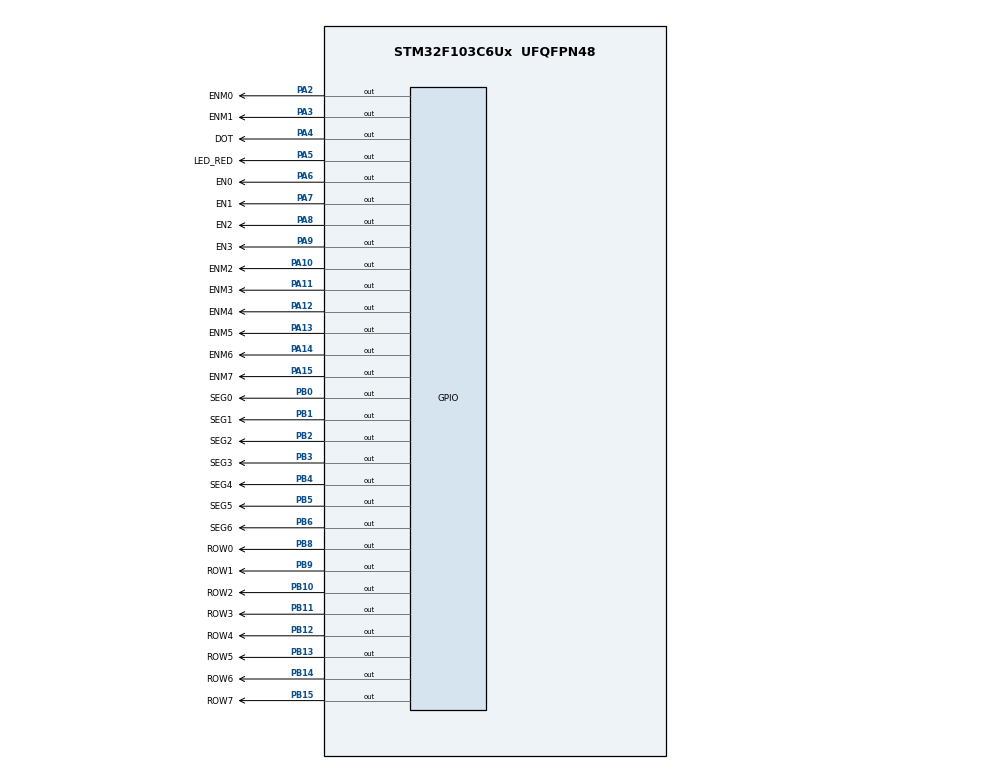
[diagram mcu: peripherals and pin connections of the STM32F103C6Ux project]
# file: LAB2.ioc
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Mcu.Family=STM32F1
Mcu.Name=STM32F103C6Ux
Mcu.Package=UFQFPN48
NVIC.PriorityGroup=NVIC_PRIORITYGROUP_4
NVIC.TIM2_IRQn=true\:0\:0\:false\:false\:true\:true\:true
PA10.GPIO_Label=ENM2
PA10.Signal=GPIO_Output
PA11.GPIO_Label=ENM3
PA11.Signal=GPIO_Output
PA12.GPIO_Label=ENM4
PA12.Signal=GPIO_Output
PA13.GPIO_Label=ENM5
PA13.Signal=GPIO_Output
PA14.GPIO_Label=ENM6
PA14.Signal=GPIO_Output
PA15.GPIO_Label=ENM7
PA15.Signal=GPIO_Output
PA2.GPIO_Label=ENM0
PA2.Signal=GPIO_Output
PA3.GPIO_Label=ENM1
PA3.Signal=GPIO_Output
PA4.GPIO_Label=DOT
PA4.Signal=GPIO_Output
PA5.GPIO_Label=LED_RED
PA5.Signal=GPIO_Output
PA6.GPIO_Label=EN0
PA6.Signal=GPIO_Output
PA7.GPIO_Label=EN1
PA7.Signal=GPIO_Output
PA8.GPIO_Label=EN2
PA8.Signal=GPIO_Output
PA9.GPIO_Label=EN3
PA9.Signal=GPIO_Output
PB0.GPIO_Label=SEG0
PB0.Signal=GPIO_Output
PB1.GPIO_Label=SEG1
PB1.Signal=GPIO_Output
PB10.GPIO_Label=ROW2
PB10.Signal=GPIO_Output
PB11.GPIO_Label=ROW3
PB11.Signal=GPIO_Output
PB12.GPIO_Label=ROW4
PB12.Signal=GPIO_Output
PB13.GPIO_Label=ROW5
PB13.Signal=GPIO_Output
PB14.GPIO_Label=ROW6
PB14.Signal=GPIO_Output
PB15.GPIO_Label=ROW7
PB15.Signal=GPIO_Output
PB2.GPIO_Label=SEG2
PB2.Signal=GPIO_Output
PB3.GPIO_Label=SEG3
PB3.Signal=GPIO_Output
PB4.GPIO_Label=SEG4
PB4.Signal=GPIO_Output
PB5.GPIO_Label=SEG5
PB5.Signal=GPIO_Output
PB6.GPIO_Label=SEG6
PB6.Signal=GPIO_Output
PB8.GPIO_Label=ROW0
PB8.Signal=GPIO_Output
PB9.GPIO_Label=ROW1
PB9.Signal=GPIO_Output
ProjectManager.HeapSize=0x200
ProjectManager.StackSize=0x400
ProjectManager.TargetToolchain=STM32CubeIDE
RCC.APB1Freq_Value=8000000
RCC.APB2Freq_Value=8000000
TIM2.Period=9
TIM2.Prescaler=7999
VP_SYS_VS_ND.Mode=No_Debug
VP_TIM2_VS_ClockSourceINT.Mode=Internal
board=custom

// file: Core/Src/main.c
/* USER CODE BEGIN Header */
/**
  ******************************************************************************
  * @file           : main.c
  * @brief          : Main program body
  ******************************************************************************
  * @attention
  *
  * <h2><center>&copy; Copyright (c) 2026 STMicroelectronics.
  * All rights reserved.</center></h2>
  *
  * This software component is licensed by ST under BSD 3-Clause license,
  * the "License"; You may not use this file except in compliance with the
  * License. You may obtain a copy of the License at:
  *                        opensource.org/licenses/BSD-3-Clause
  *
  ******************************************************************************
  */
/* USER CODE END Header */
#include "main.h"

TIM_HandleTypeDef htim2;

/* USER CODE BEGIN PV */
const int MAX_LED = 4;
int index_led = 0;
int led_buffer [4] = {1, 2, 3, 4};

typedef enum{
	Seg1, Seg2, Seg3, Seg4
}Seg_Typedef;
Seg_Typedef Seg_State = Seg1;

int hour = 15, minute = 8, second = 50;
/* USER CODE END PV */

void SystemClock_Config(void);
static void MX_GPIO_Init(void);
static void MX_TIM2_Init(void);
/* USER CODE BEGIN PFP */
void display7SEG(int num);
void update7SEG (int index);
void updateClockBuffer();
/* USER CODE END PFP */

int main(void)
{

  /* MCU Configuration--------------------------------------------------------*/

  /* Reset of all peripherals, Initializes the Flash interface and the Systick. */
  HAL_Init();

  /* Configure the system clock */
  SystemClock_Config();

  /* Initialize all configured peripherals */
  MX_GPIO_Init();
  MX_TIM2_Init();
  /* USER CODE BEGIN 2 */
  HAL_TIM_Base_Start_IT(&htim2);
  updateClockBuffer();
  /* USER CODE END 2 */

  /* Infinite loop */
  /* USER CODE BEGIN WHILE */
  while (1)
  {
	  second++;
	  if (second >= 60) {
		  second = 0;
		  minute++;
	  }
	  if(minute >= 60) {
		  minute = 0;
		  hour++;
	  }
	  if(hour >= 24){
		  hour = 0;
	  }
	  updateClockBuffer();
	  HAL_Delay(1000);
    /* USER CODE END WHILE */

  }
}

void SystemClock_Config(void)
{
  RCC_OscInitTypeDef RCC_OscInitStruct = {0};
  RCC_ClkInitTypeDef RCC_ClkInitStruct = {0};

  /** Initializes the RCC Oscillators according to the specified parameters
  * in the RCC_OscInitTypeDef structure.
  */
  RCC_OscInitStruct.OscillatorType = RCC_OSCILLATORTYPE_HSI;
  RCC_OscInitStruct.HSIState = RCC_HSI_ON;
  RCC_OscInitStruct.HSICalibrationValue = RCC_HSICALIBRATION_DEFAULT;
  RCC_OscInitStruct.PLL.PLLState = RCC_PLL_NONE;
  if (HAL_RCC_OscConfig(&RCC_OscInitStruct) != HAL_OK)
  {
    Error_Handler();
  }
  /** Initializes the CPU, AHB and APB buses clocks
  */
  RCC_ClkInitStruct.ClockType = RCC_CLOCKTYPE_HCLK|RCC_CLOCKTYPE_SYSCLK
                              |RCC_CLOCKTYPE_PCLK1|RCC_CLOCKTYPE_PCLK2;
  RCC_ClkInitStruct.SYSCLKSource = RCC_SYSCLKSOURCE_HSI;
  RCC_ClkInitStruct.AHBCLKDivider = RCC_SYSCLK_DIV1;
  RCC_ClkInitStruct.APB1CLKDivider = RCC_HCLK_DIV1;
  RCC_ClkInitStruct.APB2CLKDivider = RCC_HCLK_DIV1;

  if (HAL_RCC_ClockConfig(&RCC_ClkInitStruct, FLASH_LATENCY_0) != HAL_OK)
  {
    Error_Handler();
  }
}

static void MX_TIM2_Init(void)
{

  TIM_ClockConfigTypeDef sClockSourceConfig = {0};
  TIM_MasterConfigTypeDef sMasterConfig = {0};

  htim2.Instance = TIM2;
  htim2.Init.Prescaler = 7999;
  htim2.Init.CounterMode = TIM_COUNTERMODE_UP;
  htim2.Init.Period = 9;
  htim2.Init.ClockDivision = TIM_CLOCKDIVISION_DIV1;
  htim2.Init.AutoReloadPreload = TIM_AUTORELOAD_PRELOAD_DISABLE;
  if (HAL_TIM_Base_Init(&htim2) != HAL_OK)
  {
    Error_Handler();
  }
  sClockSourceConfig.ClockSource = TIM_CLOCKSOURCE_INTERNAL;
  if (HAL_TIM_ConfigClockSource(&htim2, &sClockSourceConfig) != HAL_OK)
  {
    Error_Handler();
  }
  sMasterConfig.MasterOutputTrigger = TIM_TRGO_RESET;
  sMasterConfig.MasterSlaveMode = TIM_MASTERSLAVEMODE_DISABLE;
  if (HAL_TIMEx_MasterConfigSynchronization(&htim2, &sMasterConfig) != HAL_OK)
  {
    Error_Handler();
  }

}

static void MX_GPIO_Init(void)
{
  GPIO_InitTypeDef GPIO_InitStruct = {0};

  /* GPIO Ports Clock Enable */
  __HAL_RCC_GPIOA_CLK_ENABLE();
  __HAL_RCC_GPIOB_CLK_ENABLE();

  /*Configure GPIO pin Output Level */
  HAL_GPIO_WritePin(GPIOA, DOT_Pin|LED_RED_Pin|EN0_Pin|EN1_Pin
                          |EN2_Pin|EN3_Pin, GPIO_PIN_RESET);

  /*Configure GPIO pin Output Level */
  HAL_GPIO_WritePin(GPIOB, SEG0_Pin|SEG1_Pin|SEG2_Pin|SEG3_Pin
                          |SEG4_Pin|SEG5_Pin|SEG6_Pin, GPIO_PIN_RESET);

  /*Configure GPIO pins : DOT_Pin LED_RED_Pin EN0_Pin EN1_Pin
                           EN2_Pin EN3_Pin */
  GPIO_InitStruct.Pin = DOT_Pin|LED_RED_Pin|EN0_Pin|EN1_Pin
                          |EN2_Pin|EN3_Pin;
  GPIO_InitStruct.Mode = GPIO_MODE_OUTPUT_PP;
  GPIO_InitStruct.Pull = GPIO_NOPULL;
  GPIO_InitStruct.Speed = GPIO_SPEED_FREQ_LOW;
  HAL_GPIO_Init(GPIOA, &GPIO_InitStruct);

  /*Configure GPIO pins : SEG0_Pin SEG1_Pin SEG2_Pin SEG3_Pin
                           SEG4_Pin SEG5_Pin SEG6_Pin */
  GPIO_InitStruct.Pin = SEG0_Pin|SEG1_Pin|SEG2_Pin|SEG3_Pin
                          |SEG4_Pin|SEG5_Pin|SEG6_Pin;
  GPIO_InitStruct.Mode = GPIO_MODE_OUTPUT_PP;
  GPIO_InitStruct.Pull = GPIO_NOPULL;
  GPIO_InitStruct.Speed = GPIO_SPEED_FREQ_LOW;
  HAL_GPIO_Init(GPIOB, &GPIO_InitStruct);

}

/* USER CODE BEGIN 4 */
int counterled = 100, counterseg = 25, counterdot = 100;
void HAL_TIM_PeriodElapsedCallback(TIM_HandleTypeDef *htim){
	counterled--;
	if (counterled <= 0){
		counterled = 100;
		HAL_GPIO_TogglePin(LED_RED_GPIO_Port, LED_RED_Pin);
	}

	counterseg--;
	if (counterseg <= 0){
		counterseg = 25;
		index_led = (index_led+1)%4;
	}

	counterdot--;
	if (counterdot <= 0){
		counterdot=100;
		HAL_GPIO_TogglePin(DOT_GPIO_Port, DOT_Pin);
	}
	update7SEG(index_led);
}

void update7SEG (int index){
	  switch(index){
	  case 2:
		  HAL_GPIO_WritePin(EN0_GPIO_Port,EN0_Pin,GPIO_PIN_SET);
		  HAL_GPIO_WritePin(EN1_GPIO_Port,EN1_Pin,GPIO_PIN_SET);
		  HAL_GPIO_WritePin(EN2_GPIO_Port,EN2_Pin,GPIO_PIN_RESET);
		  HAL_GPIO_WritePin(EN3_GPIO_Port,EN3_Pin,GPIO_PIN_SET);
		  display7SEG(led_buffer[2]);
		  break;
	  case 3:
		  HAL_GPIO_WritePin(EN0_GPIO_Port,EN0_Pin,GPIO_PIN_SET);
		  HAL_GPIO_WritePin(EN1_GPIO_Port,EN1_Pin,GPIO_PIN_SET);
		  HAL_GPIO_WritePin(EN2_GPIO_Port,EN2_Pin,GPIO_PIN_SET);
		  HAL_GPIO_WritePin(EN3_GPIO_Port,EN3_Pin,GPIO_PIN_RESET);
		  display7SEG(led_buffer[3]);
		  break;
	  case 0:
		  HAL_GPIO_WritePin(EN0_GPIO_Port,EN0_Pin,GPIO_PIN_RESET);
		  HAL_GPIO_WritePin(EN1_GPIO_Port,EN1_Pin,GPIO_PIN_SET);
		  HAL_GPIO_WritePin(EN2_GPIO_Port,EN2_Pin,GPIO_PIN_SET);
		  HAL_GPIO_WritePin(EN3_GPIO_Port,EN3_Pin,GPIO_PIN_SET);
		  display7SEG(led_buffer[0]);
		  break;
	  case 1:
		  HAL_GPIO_WritePin(EN0_GPIO_Port,EN0_Pin,GPIO_PIN_SET);
		  HAL_GPIO_WritePin(EN1_GPIO_Port,EN1_Pin,GPIO_PIN_RESET);
		  HAL_GPIO_WritePin(EN2_GPIO_Port,EN2_Pin,GPIO_PIN_SET);
		  HAL_GPIO_WritePin(EN3_GPIO_Port,EN3_Pin,GPIO_PIN_SET);
		  display7SEG(led_buffer[1]);
		  break;
	  }
}

void display7SEG(int num){
	switch(num){
		case 0:
			HAL_GPIO_WritePin(GPIOB, SEG0_Pin, GPIO_PIN_RESET);
			HAL_GPIO_WritePin(GPIOB, SEG1_Pin, GPIO_PIN_RESET);
			HAL_GPIO_WritePin(GPIOB, SEG2_Pin, GPIO_PIN_RESET);
			HAL_GPIO_WritePin(GPIOB, SEG3_Pin, GPIO_PIN_RESET);
			HAL_GPIO_WritePin(GPIOB, SEG4_Pin, GPIO_PIN_RESET);
			HAL_GPIO_WritePin(GPIOB, SEG5_Pin, GPIO_PIN_RESET);
			HAL_GPIO_WritePin(GPIOB, SEG6_Pin, GPIO_PIN_SET);
			break;
		case 1:
			HAL_GPIO_WritePin(GPIOB, SEG0_Pin, GPIO_PIN_SET);
			HAL_GPIO_WritePin(GPIOB, SEG1_Pin, GPIO_PIN_RESET);
			HAL_GPIO_WritePin(GPIOB, SEG2_Pin, GPIO_PIN_RESET);
			HAL_GPIO_WritePin(GPIOB, SEG3_Pin, GPIO_PIN_SET);
			HAL_GPIO_WritePin(GPIOB, SEG4_Pin, GPIO_PIN_SET);
			HAL_GPIO_WritePin(GPIOB, SEG5_Pin, GPIO_PIN_SET);
			HAL_GPIO_WritePin(GPIOB, SEG6_Pin, GPIO_PIN_SET);
			break;
		case 2:
			HAL_GPIO_WritePin(GPIOB, SEG0_Pin, GPIO_PIN_RESET);
			HAL_GPIO_WritePin(GPIOB, SEG1_Pin, GPIO_PIN_RESET);
			HAL_GPIO_WritePin(GPIOB, SEG2_Pin, GPIO_PIN_SET);
			HAL_GPIO_WritePin(GPIOB, SEG3_Pin, GPIO_PIN_RESET);
			HAL_GPIO_WritePin(GPIOB, SEG4_Pin, GPIO_PIN_RESET);
			HAL_GPIO_WritePin(GPIOB, SEG5_Pin, GPIO_PIN_SET);
			HAL_GPIO_WritePin(GPIOB, SEG6_Pin, GPIO_PIN_RESET);
			break;
		case 3:
			HAL_GPIO_WritePin(GPIOB, SEG0_Pin, GPIO_PIN_RESET);
			HAL_GPIO_WritePin(GPIOB, SEG1_Pin, GPIO_PIN_RESET);
			HAL_GPIO_WritePin(GPIOB, SEG2_Pin, GPIO_PIN_RESET);
			HAL_GPIO_WritePin(GPIOB, SEG3_Pin, GPIO_PIN_RESET);
			HAL_GPIO_WritePin(GPIOB, SEG4_Pin, GPIO_PIN_SET);
			HAL_GPIO_WritePin(GPIOB, SEG5_Pin, GPIO_PIN_SET);
			HAL_GPIO_WritePin(GPIOB, SEG6_Pin, GPIO_PIN_RESET);
			break;
		case 4:
			HAL_GPIO_WritePin(GPIOB, SEG0_Pin, GPIO_PIN_SET);
			HAL_GPIO_WritePin(GPIOB, SEG1_Pin, GPIO_PIN_RESET);
			HAL_GPIO_WritePin(GPIOB, SEG2_Pin, GPIO_PIN_RESET);
			HAL_GPIO_WritePin(GPIOB, SEG3_Pin, GPIO_PIN_SET);
			HAL_GPIO_WritePin(GPIOB, SEG4_Pin, GPIO_PIN_SET);
			HAL_GPIO_WritePin(GPIOB, SEG5_Pin, GPIO_PIN_RESET);
			HAL_GPIO_WritePin(GPIOB, SEG6_Pin, GPIO_PIN_RESET);
			break;
		case 5:
			HAL_GPIO_WritePin(GPIOB, SEG0_Pin, GPIO_PIN_RESET);
			HAL_GPIO_WritePin(GPIOB, SEG1_Pin, GPIO_PIN_SET);
			HAL_GPIO_WritePin(GPIOB, SEG2_Pin, GPIO_PIN_RESET);
			HAL_GPIO_WritePin(GPIOB, SEG3_Pin, GPIO_PIN_RESET);
			HAL_GPIO_WritePin(GPIOB, SEG4_Pin, GPIO_PIN_SET);
			HAL_GPIO_WritePin(GPIOB, SEG5_Pin, GPIO_PIN_RESET);
			HAL_GPIO_WritePin(GPIOB, SEG6_Pin, GPIO_PIN_RESET);
			break;
		case 6:
			HAL_GPIO_WritePin(GPIOB, SEG0_Pin, GPIO_PIN_RESET);
			HAL_GPIO_WritePin(GPIOB, SEG1_Pin, GPIO_PIN_SET);
			HAL_GPIO_WritePin(GPIOB, SEG2_Pin, GPIO_PIN_RESET);
			HAL_GPIO_WritePin(GPIOB, SEG3_Pin, GPIO_PIN_RESET);
			HAL_GPIO_WritePin(GPIOB, SEG4_Pin, GPIO_PIN_RESET);
			HAL_GPIO_WritePin(GPIOB, SEG5_Pin, GPIO_PIN_RESET);
			HAL_GPIO_WritePin(GPIOB, SEG6_Pin, GPIO_PIN_RESET);
			break;
		case 7:
			HAL_GPIO_WritePin(GPIOB, SEG0_Pin, GPIO_PIN_RESET);
			HAL_GPIO_WritePin(GPIOB, SEG1_Pin, GPIO_PIN_RESET);
			HAL_GPIO_WritePin(GPIOB, SEG2_Pin, GPIO_PIN_RESET);
			HAL_GPIO_WritePin(GPIOB, SEG3_Pin, GPIO_PIN_SET);
			HAL_GPIO_WritePin(GPIOB, SEG4_Pin, GPIO_PIN_SET);
			HAL_GPIO_WritePin(GPIOB, SEG5_Pin, GPIO_PIN_SET);
			HAL_GPIO_WritePin(GPIOB, SEG6_Pin, GPIO_PIN_SET);
			break;
		case 8:
			HAL_GPIO_WritePin(GPIOB, SEG0_Pin, GPIO_PIN_RESET);
			HAL_GPIO_WritePin(GPIOB, SEG1_Pin, GPIO_PIN_RESET);
			HAL_GPIO_WritePin(GPIOB, SEG2_Pin, GPIO_PIN_RESET);
			HAL_GPIO_WritePin(GPIOB, SEG3_Pin, GPIO_PIN_RESET);
			HAL_GPIO_WritePin(GPIOB, SEG4_Pin, GPIO_PIN_RESET);
			HAL_GPIO_WritePin(GPIOB, SEG5_Pin, GPIO_PIN_RESET);
			HAL_GPIO_WritePin(GPIOB, SEG6_Pin, GPIO_PIN_RESET);
			break;
		case 9:
			HAL_GPIO_WritePin(GPIOB, SEG0_Pin, GPIO_PIN_RESET);
			HAL_GPIO_WritePin(GPIOB, SEG1_Pin, GPIO_PIN_RESET);
			HAL_GPIO_WritePin(GPIOB, SEG2_Pin, GPIO_PIN_RESET);
			HAL_GPIO_WritePin(GPIOB, SEG3_Pin, GPIO_PIN_RESET);
			HAL_GPIO_WritePin(GPIOB, SEG4_Pin, GPIO_PIN_SET);
			HAL_GPIO_WritePin(GPIOB, SEG5_Pin, GPIO_PIN_RESET);
			HAL_GPIO_WritePin(GPIOB, SEG6_Pin, GPIO_PIN_RESET);
			break;
		default:
			break;
	}
}

void updateClockBuffer(){
	led_buffer[0] = hour/10;
	led_buffer[1] = hour%10;
	led_buffer[2] = minute/10;
	led_buffer[3] = minute%10;
}
/* USER CODE END 4 */

void Error_Handler(void)
{
  __disable_irq();
  while (1)
  {
  }
}

/************************ (C) COPYRIGHT STMicroelectronics *****END OF FILE****/
